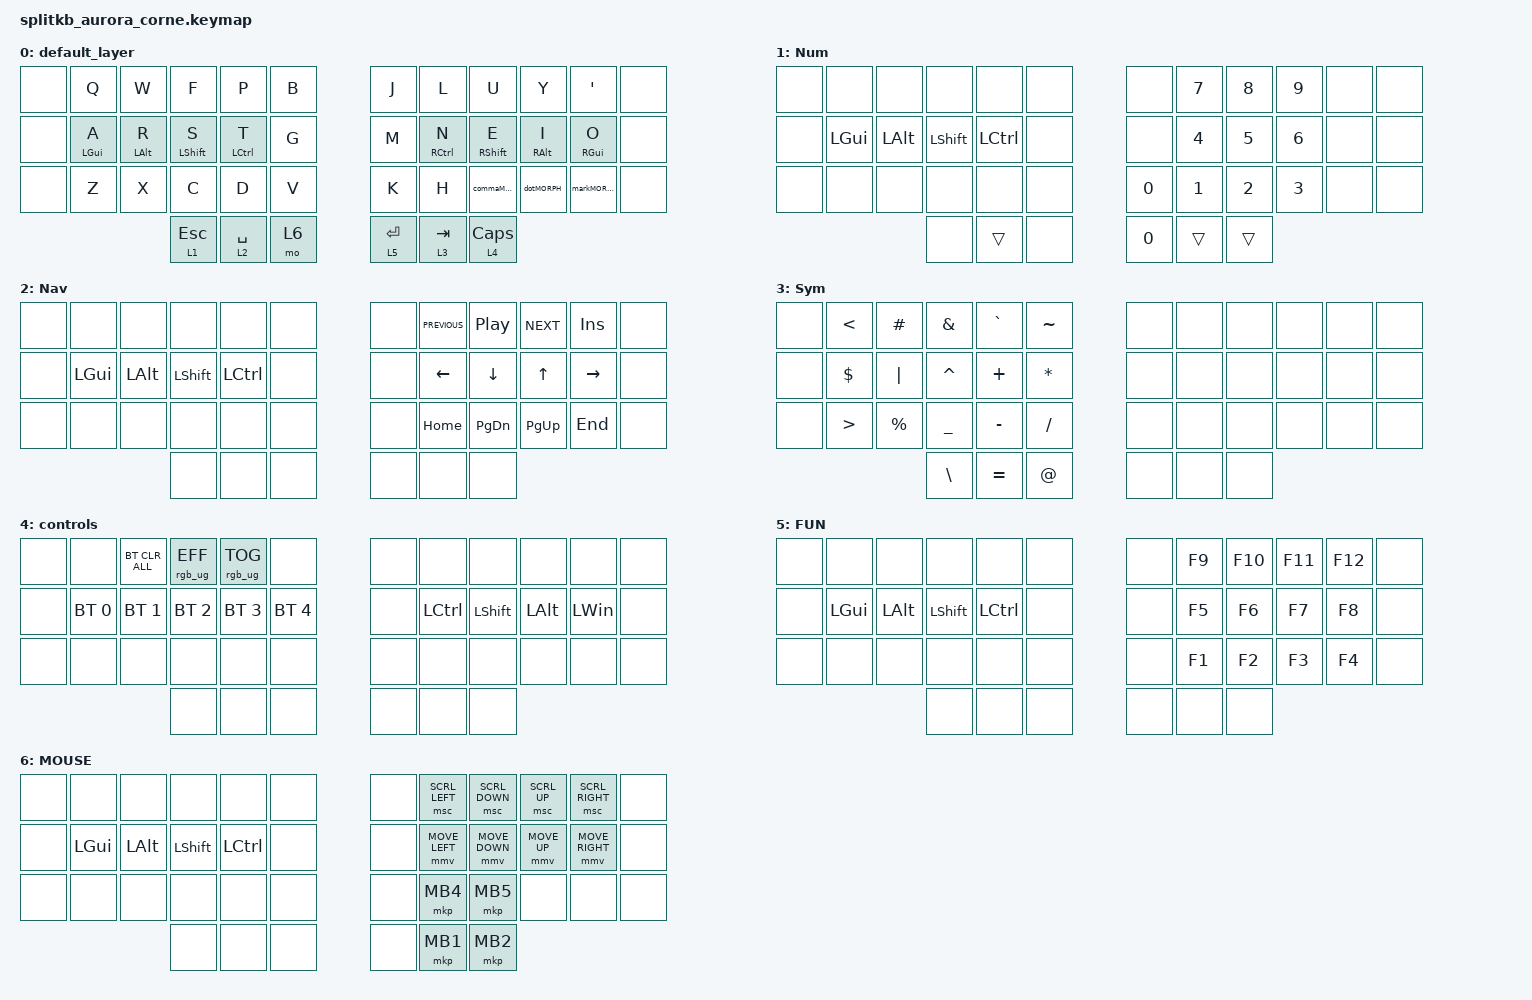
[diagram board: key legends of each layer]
/*
 * Copyright (c) 2020 The ZMK Contributors
 *
 * SPDX-License-Identifier: MIT
 */

#include <behaviors.dtsi>
#include <dt-bindings/zmk/bt.h>
#include <dt-bindings/zmk/keys.h>
#include <dt-bindings/zmk/pointing.h>
#include <dt-bindings/zmk/rgb.h>

/ {
    behaviors {
        HRML: HRML {
            compatible = "zmk,behavior-hold-tap";
            label = "HRML";
            bindings = <&kp>, <&kp>;

            #binding-cells = <2>;
            tapping-term-ms = <280>;
            quick-tap-ms = <175>;
            require-prior-idle-ms = <150>;
            hold-trigger-on-release;
            hold-trigger-key-positions = <18 35 39 40 41 30 31 32 33 34 22 23 11 10 9 8 7 19 21 20 6>;
            flavor = "balanced";
        };

        HRMR: HRMR {
            compatible = "zmk,behavior-hold-tap";
            label = "HRMR";
            bindings = <&kp>, <&kp>;

            #binding-cells = <2>;
            tapping-term-ms = <280>;
            quick-tap-ms = <175>;
            require-prior-idle-ms = <150>;
            hold-trigger-on-release;
            flavor = "balanced";
            hold-trigger-key-positions = <0 1 5 12 13 14 15 16 17 24 25 26 27 28 29 36 37 38 0 1 2 3 4 5 12 13 14 15 16 17 24 25 26 27 28 29 36 37 38>;
        };

        LayerStickyKey: LayerStickyKey {
            compatible = "zmk,behavior-hold-tap";
            label = "LAYERSTICKYKEY";
            bindings = <&mo>, <&sk>;

            #binding-cells = <2>;
            tapping-term-ms = <200>;
        };

        CapsCapsWord: CapsCapsWord {
            compatible = "zmk,behavior-tap-dance";
            label = "CAPSCAPSWORD";
            #binding-cells = <0>;
            bindings = <&caps_word>, <&kp CLCK>;
        };

        commaMORPH: commaMORPH {
            compatible = "zmk,behavior-mod-morph";
            label = "COMMAMORPH";
            bindings = <&kp COMMA>, <&kp SEMI>;

            #binding-cells = <0>;
            mods = <(MOD_LSFT|MOD_RSFT)>;
        };

        dotMORPH: dotMORPH {
            compatible = "zmk,behavior-mod-morph";
            label = "DOTMORPH";
            bindings = <&kp DOT>, <&kp COLON>;

            #binding-cells = <0>;
            mods = <(MOD_LSFT|MOD_RSFT)>;
        };

        markMORPH: markMORPH {
            compatible = "zmk,behavior-mod-morph";
            label = "MARKMORPH";
            bindings = <&kp QUESTION>, <&kp EXCL>;

            #binding-cells = <0>;
            mods = <(MOD_LSFT|MOD_RSFT)>;
        };
    };

    combos {
        compatible = "zmk,combos";

        backsapce {
            bindings = <&kp BACKSPACE>;
            key-positions = <19 20>;
            require-prior-idle-ms = <150>;
            layers = <0 1>;
        };

        prenthesisL {
            bindings = <&kp LEFT_PARENTHESIS>;
            key-positions = <7 8>;
            require-prior-idle-ms = <150>;
            layers = <0>;
        };

        parenthesisR {
            bindings = <&kp RIGHT_PARENTHESIS>;
            key-positions = <8 9>;
            require-prior-idle-ms = <150>;
            layers = <0>;
        };

        SbracketL {
            bindings = <&kp LEFT_BRACKET>;
            key-positions = <31 32>;
            layers = <0>;
            require-prior-idle-ms = <150>;
        };

        bracketR {
            bindings = <&kp RIGHT_BRACKET>;
            key-positions = <33 32>;
            layers = <0>;
            require-prior-idle-ms = <150>;
        };

        delete {
            bindings = <&kp DELETE>;
            key-positions = <20 21>;
            require-prior-idle-ms = <150>;
            layers = <0 1>;
        };

        esc {
            bindings = <&kp ESCAPE>;
            key-positions = <14 15>;
            require-prior-idle-ms = <150>;
            layers = <0 1>;
        };

        tab {
            bindings = <&kp TAB>;
            key-positions = <16 15>;
            layers = <0 1>;
            require-prior-idle-ms = <150>;
        };

        copy {
            bindings = <&kp LC(C)>;
            key-positions = <2 3>;
            layers = <0 1>;
            require-prior-idle-ms = <150>;
        };

        paste {
            bindings = <&kp LC(V)>;
            key-positions = <3 4>;
            require-prior-idle-ms = <150>;
            layers = <0 1>;
        };

        undo {
            bindings = <&kp LC(Z)>;
            key-positions = <26 27>;
            layers = <0 1>;
            require-prior-idle-ms = <150>;
        };

        redo {
            bindings = <&kp LC(Y)>;
            key-positions = <27 28>;
            layers = <0 1>;
            require-prior-idle-ms = <150>;
        };

        less {
            bindings = <&kp LESS_THAN>;
            key-positions = <32 31>;
            require-prior-idle-ms = <150>;
            layers = <1>;
        };

        greater {
            bindings = <&kp GREATER_THAN>;
            key-positions = <32 33>;
            require-prior-idle-ms = <150>;
            layers = <1>;
        };

        braceL {
            bindings = <&kp LEFT_BRACE>;
            key-positions = <7 8>;
            require-prior-idle-ms = <150>;
            layers = <1>;
        };

        braceR {
            bindings = <&kp RIGHT_BRACE>;
            key-positions = <8 9>;
            require-prior-idle-ms = <150>;
            layers = <1>;
        };
    };

    keymap {
        compatible = "zmk,keymap";

        default_layer {
            // -----------------------------------------------------------------------------------------
            // |  TAB |  Q  |  W  |  E  |  R  |  T  |   |  Y  |  U   |  I  |  O  |  P  | BKSP |
            // | CTRL |  A  |  S  |  D  |  F  |  G  |   |  H  |  J   |  K  |  L  |  ;  |  '   |
            // | SHFT |  Z  |  X  |  C  |  V  |  B  |   |  N  |  M   |  ,  |  .  |  /  | ESC  |
            //                    | GUI | LWR | SPC |   | ENT | RSE  | ALT |

            bindings = <
&none  &kp Q             &kp W             &kp F               &kp P          &kp B    &kp J        &kp L          &kp U                &kp Y              &kp SQT            &none
&none  &HRML LEFT_GUI A  &HRML LEFT_ALT R  &HRML LEFT_SHIFT S  &HRML LCTRL T  &kp G    &kp M        &HRMR RCTRL N  &HRMR RIGHT_SHIFT E  &HRMR RIGHT_ALT I  &HRMR RIGHT_GUI O  &none
&none  &kp Z             &kp X             &kp C               &kp D          &kp V    &kp K        &kp H          &commaMORPH          &dotMORPH          &markMORPH         &none
                                           &lt 1 ESCAPE        &lt 2 SPACE    &mo 6    &lt 5 ENTER  &lt 3 TAB      &lt 4 CAPSLOCK
            >;
        };

        Num {
            // -----------------------------------------------------------------------------------------
            // |  TAB |  1  |  2  |  3  |  4  |  5  |   |  6  |  7  |  8  |  9  |  0  | BKSP |
            // | BTCLR| BT1 | BT2 | BT3 | BT4 | BT5 |   | LFT | DWN |  UP | RGT |     |      |
            // | SHFT |     |     |     |     |     |   |     |     |     |     |     |      |
            //                    | GUI |     | SPC |   | ENT |     | ALT |

            bindings = <
&none  &none     &none     &none      &none      &none    &none         &kp NUMBER_7  &kp N8        &kp N9        &none  &none
&none  &kp LGUI  &kp LALT  &kp LSHFT  &kp LCTRL  &none    &none         &kp NUMBER_4  &kp NUMBER_5  &kp NUMBER_6  &none  &none
&none  &none     &none     &none      &none      &none    &kp NUMBER_0  &kp NUMBER_1  &kp NUMBER_2  &kp NUMBER_3  &none  &none
                           &none      &trans     &none    &kp NUMBER_0  &trans        &trans
            >;
        };

        Nav {
            bindings = <
&none  &none     &none     &none      &none      &none    &none  &kp C_PREVIOUS  &kp C_PLAY_PAUSE  &kp C_NEXT    &kp INS    &none
&none  &kp LGUI  &kp LALT  &kp LSHFT  &kp LCTRL  &none    &none  &kp LEFT        &kp DOWN          &kp UP_ARROW  &kp RIGHT  &none
&none  &none     &none     &none      &none      &none    &none  &kp HOME        &kp PAGE_DOWN     &kp PAGE_UP   &kp END    &none
                           &none      &none      &none    &none  &none           &none
            >;
        };

        Sym {
            bindings = <
&none  &kp LESS_THAN     &kp HASH     &kp AMPERSAND   &kp GRAVE  &kp TILDE       &none  &none  &none  &none  &none  &none
&none  &kp DOLLAR        &kp PIPE     &kp CARET       &kp PLUS   &kp ASTERISK    &none  &none  &none  &none  &none  &none
&none  &kp GREATER_THAN  &kp PERCENT  &kp UNDERSCORE  &kp MINUS  &kp SLASH       &none  &none  &none  &none  &none  &none
                                      &kp BACKSLASH   &kp EQUAL  &kp AT          &none  &none  &none
            >;
        };

        controls {
            bindings = <
&none  &none         &bt BT_CLR_ALL  &rgb_ug RGB_EFF  &rgb_ug RGB_TOG  &none           &none  &none      &none           &none         &none         &none
&none  &bt BT_SEL 0  &bt BT_SEL 1    &bt BT_SEL 2     &bt BT_SEL 3     &bt BT_SEL 4    &none  &kp LCTRL  &kp LEFT_SHIFT  &kp LEFT_ALT  &kp LEFT_WIN  &none
&none  &none         &none           &none            &none            &none           &none  &none      &none           &none         &none         &none
                                     &none            &none            &none           &none  &none      &none
            >;
        };

        FUN {
            bindings = <
&none  &none     &none     &none      &none      &none    &none  &kp F9  &kp F10  &kp F11  &kp F12  &none
&none  &kp LGUI  &kp LALT  &kp LSHFT  &kp LCTRL  &none    &none  &kp F5  &kp F6   &kp F7   &kp F8   &none
&none  &none     &none     &none      &none      &none    &none  &kp F1  &kp F2   &kp F3   &kp F4   &none
                           &none      &none      &none    &none  &none   &none
            >;
        };

        MOUSE {
            bindings = <
&none  &none     &none     &none      &none      &none    &none  &msc SCRL_LEFT  &msc SCRL_DOWN  &msc SCRL_UP  &msc SCRL_RIGHT  &none
&none  &kp LGUI  &kp LALT  &kp LSHFT  &kp LCTRL  &none    &none  &mmv MOVE_LEFT  &mmv MOVE_DOWN  &mmv MOVE_UP  &mmv MOVE_RIGHT  &none
&none  &none     &none     &none      &none      &none    &none  &mkp MB4        &mkp MB5        &none         &none            &none
                           &none      &none      &none    &none  &mkp MB1        &mkp MB2
            >;
        };
    };
};
